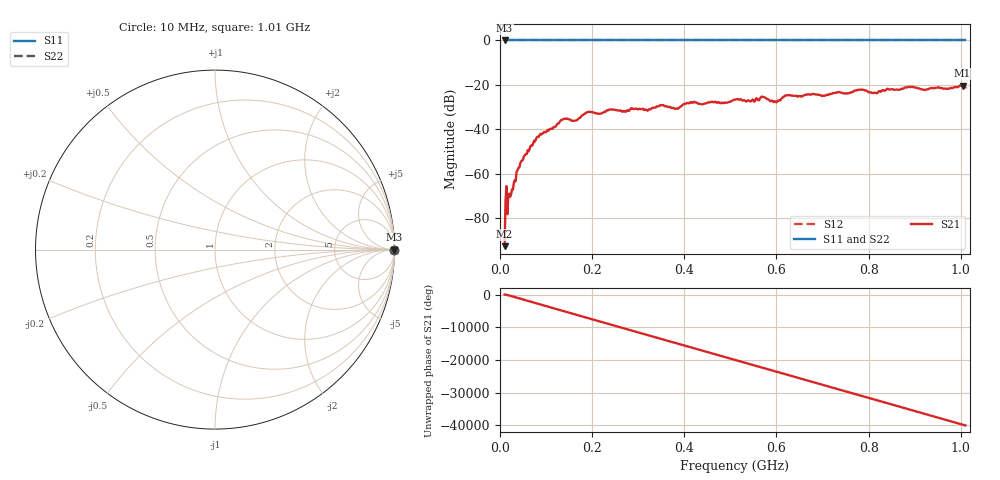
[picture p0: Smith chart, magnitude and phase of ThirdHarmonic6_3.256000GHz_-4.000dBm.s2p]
! 8/17/2025 10:01:59 AM
! C:\ANRITSUVNA\TEMP\TEMP.S2P
! CHANNEL.1
! TR.MEASUREMENT
! RAW.DATA
! RF.CORRECTION.OFF
! AVERAGING.OFF
! IF.BANDWIDTH: 5KHZ
! SWEEPTYPE:  FREQ.SWEEP(Linear)
! Reference Plane Port Info
! PORT:  PORT1  PORT2
! DISTANCE:  0  m  0  m
! TIME:  0  s  0  s
! PHASE.OFFSET:  0  deg.  0  deg.
! LOSS:  0  dB  0  dB
! REF.LOSS:  0  dB  0  dB
! REF.FREQ:  0  Hz  0  Hz
! Power Info
! POWER:  -20  dBm  -20  dBm
! EFF.POWER:  -20  dBm  -20  dBm
! SOURCE.ATTEN:  0  dB  0  dB
! TEST.ATTEN:  0  dB  0  dB
# GHZ S RI R 50.0
! FREQ.GHZ  S11RE  S11IM  S21RE  S21IM  S12RE  S12IM  S22RE  S22IM
!; PortSelection: Port_12
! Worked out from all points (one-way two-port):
!   501 points, 10 MHz to 1.01 GHz, reference 50 ohm
!   highest |S21| = -20.30 dB at 1.004 GHz (marker M1); lowest = -92.6 dB at 10 MHz (marker M2)
!   lowest |S11| = 0.0 dB at 10 MHz (marker M3)
!   |S11| at or under -10 dB: nowhere
!   |S22| runs from 0.0 to 0.0 dB; largest |S21 - S12| = 1.1
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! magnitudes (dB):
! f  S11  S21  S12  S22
! 10 MHz  0.0  -92.6  0.0  0.0
! 16 MHz  0.0  -78.3  0.0  0.0
! 20 MHz  0.0  -69.0  0.0  0.0
! 42 MHz  0.0  -57.2  0.0  0.0
! 78 MHz  0.0  -44.5  0.0  0.0
! 136 MHz  0.0  -35.7  0.0  0.0
! 162 MHz  0.0  -36.2  0.0  0.0
! 178 MHz  0.0  -33.8  0.0  0.0
! 192 MHz  0.0  -32.2  0.0  0.0
! 322 MHz  0.0  -31.2  0.0  0.0
! 344 MHz  0.0  -29.6  0.0  0.0
! 382 MHz  0.0  -30.7  0.0  0.0
! 410 MHz  0.0  -28.3  0.0  0.0
! 510 MHz  0.0  -26.7  0.0  0.0
! 570 MHz  0.0  -25.4  0.0  0.0
! 598 MHz  0.0  -27.5  0.0  0.0
! 622 MHz  0.0  -24.7  0.0  0.0
! 678 MHz  0.0  -24.1  0.0  0.0
! 814 MHz  0.0  -23.5  0.0  0.0
! 844 MHz  0.0  -22.0  0.0  0.0
! 1.004 GHz  0.0  -20.3  0.0  0.0
! 1.01 GHz  0.0  -21.1  0.0  0.0
